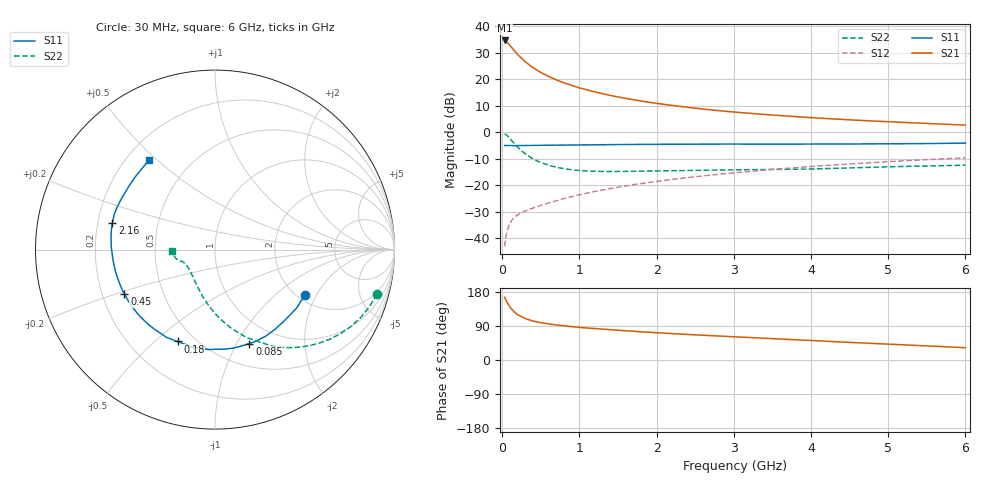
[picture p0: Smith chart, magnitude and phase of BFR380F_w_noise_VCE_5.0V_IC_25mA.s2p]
! Infineon Technologies  Discrete & RF Semiconductors
! BFR380F
! VCE =  5.0 V,  IC =  25 mA
! Common Emitter S-Parameters:  Nov 2015
# GHz  S  MA  R  50
!  f  S11  S21  S12  S22
! GHz  MAG  ANG  MAG  ANG  MAG  ANG  MAG  ANG
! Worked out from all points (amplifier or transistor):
!   206 points, 30 MHz to 6 GHz, reference 50 ohm
!   highest |S21| = 34.6 dB at 30 MHz (marker M1)
!   |S21| within 3 dB of that: start of sweep to 130.3 MHz
!   unconditionally stable (mu >= 1): 1.257 GHz to 4.99 GHz
!   at 200 MHz: K = 0.42, MSG = 30.3 dB, |S12| = -31.2 dB
!   at 1.56 GHz: K = 1.02, MAG = 15.8 dB, |S12| = -20.5 dB
!   at 6 GHz: K = 0.98, MSG = 6.2 dB, |S12| = -9.7 dB
!   lowest NFmin = 1.13 dB at 900 MHz
!   S11 on the Smith chart (normalised r, x): 30 MHz: 2.17, -1.62; 85 MHz: 0.74, -1.13; 180 MHz: 0.40, -0.59; 450 MHz: 0.29, -0.21; 2.16 GHz: 0.26, +0.12; 6 GHz: 0.29, +0.47
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0.03  0.5607 -27.1  53.95 165.6  0.007 80.2  0.9361 -15.4
0.05  0.5537 -44.5  51.69 156.6  0.0111 73.5  0.8952 -25.1
0.07  0.559 -59.9  48.38 149.1  0.0147 68.1  0.8407 -33.9
0.085  0.5571 -69.9  45.76 144.3  0.017 64.6  0.7969 -39.7
0.11  0.5574 -84.0  41.46 136.9  0.0202 60.4  0.7245 -48.5
0.13  0.558 -93.7  38.23 132.1  0.0223 57.7  0.6708 -54.5
0.15  0.5578 -102.5  35.34 127.7  0.024 55.7  0.6214 -59.7
0.18  0.5529 -112.2  31.55 123.1  0.026 53.8  0.5579 -65.7
0.2  0.5585 -118.6  29.16 119.4  0.0274 52.7  0.5195 -70.4
0.24  0.5573 -127.4  25.54 115.0  0.0296 51.9  0.4583 -76.9
0.3  0.5602 -138.3  21.19 109.1  0.0324 51.7  0.3877 -85.7
0.36  0.5606 -145.6  18.1 105.2  0.0351 52.4  0.3385 -92.5
0.45  0.5621 -154.0  14.76 100.4  0.0391 54.2  0.2869 -101.3
0.7  0.5676 -167.3  9.695 92.3  0.0506 59.1  0.2168 -119.4
1.04  0.5735 -177.3  6.604 85.4  0.0674 63.4  0.1863 -135.5
1.4  0.5807 175.6  4.928 79.7  0.086 65.7  0.1801 -146.2
2.02  0.5906 167.0  3.461 71.8  0.1184 66.8  0.1847 -154.8
2.16  0.591 165.3  3.249 70.1  0.1257 66.7  0.1863 -156.0
3.1  0.5941 155.8  2.333 60.2  0.1757 65.3  0.1943 -160.3
4.1  0.5946 145.7  1.839 50.2  0.2293 61.9  0.2026 -161.4
5.1  0.6024 136.3  1.548 41.0  0.2816 57.6  0.2228 -167.3
6  0.6203 126.4  1.357 32.4  0.3261 52.7  0.2374 -178.2
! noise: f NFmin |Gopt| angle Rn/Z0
0.45  1.16  0.25  179  0.08
0.9  1.13  0.3  177  0.07
1.8  1.34  0.38  -171  0.08
1.9  1.42  0.39  -171  0.08
2.4  1.5  0.41  -161  0.09
3.5  2.08  0.49  -150  0.13
